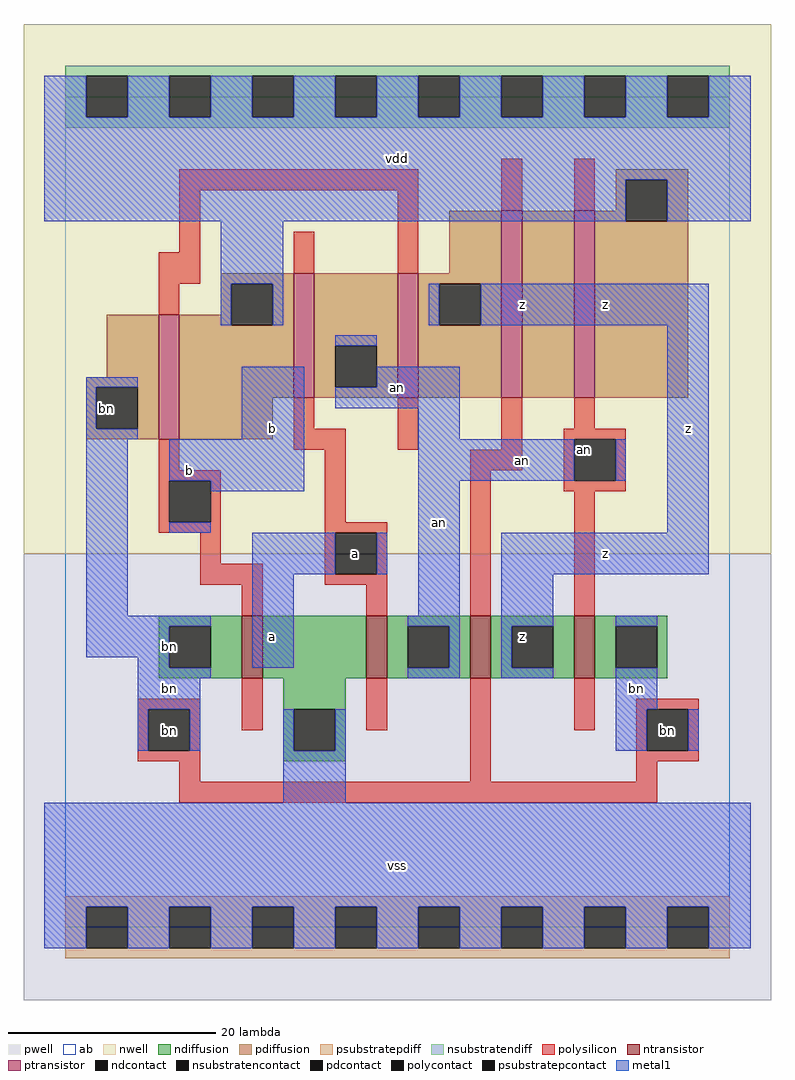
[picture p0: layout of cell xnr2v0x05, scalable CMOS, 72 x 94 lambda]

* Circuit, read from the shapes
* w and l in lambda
.subckt xnr2v0x05 a an b bn vdd vss z
M1 vss b bn vss nfet w=6 l=2
M2 an a vss vss nfet w=6 l=2
M3 z bn an vss nfet w=6 l=2
M4 bn an z vss nfet w=6 l=2
M5 vdd b bn vdd pfet w=12 l=2
M6 an a vdd vdd pfet w=12 l=2
M7 z b an vdd pfet w=12 l=2
M8 n1 bn z vdd pfet w=18 l=2
M9 vdd an n1 vdd pfet w=18 l=2
.ends

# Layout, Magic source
magic
tech scmos
<< ab >>
rect 0 0 64 80
<< pwell >>
rect -4 -7 68 36
<< nwell >>
rect -4 36 68 87
<< polysilicon >>
rect 11 71 34 73
rect 11 65 13 71
rect 9 62 13 65
rect 22 63 24 67
rect 32 63 34 71
rect 42 69 44 74
rect 49 69 51 74
rect 9 59 11 62
rect 22 48 24 51
rect 9 44 11 47
rect 22 46 27 48
rect 32 46 34 51
rect 42 46 44 51
rect 49 48 51 51
rect 9 43 15 44
rect 9 39 10 43
rect 14 39 15 43
rect 9 38 15 39
rect 13 35 15 38
rect 25 39 27 46
rect 39 44 44 46
rect 48 47 54 48
rect 25 38 31 39
rect 13 33 19 35
rect 25 34 26 38
rect 30 34 31 38
rect 25 33 31 34
rect 17 30 19 33
rect 29 30 31 33
rect 39 30 41 44
rect 48 43 49 47
rect 53 43 54 47
rect 48 42 54 43
rect 49 30 51 42
rect 7 21 13 22
rect 7 17 8 21
rect 12 17 13 21
rect 17 19 19 24
rect 7 16 13 17
rect 29 19 31 24
rect 11 14 13 16
rect 39 14 41 24
rect 49 19 51 24
rect 55 21 61 22
rect 55 17 56 21
rect 60 17 61 21
rect 55 16 61 17
rect 55 14 57 16
rect 11 12 57 14
<< ndiffusion >>
rect 9 29 17 30
rect 9 25 10 29
rect 14 25 17 29
rect 9 24 17 25
rect 19 24 29 30
rect 31 29 39 30
rect 31 25 33 29
rect 37 25 39 29
rect 31 24 39 25
rect 41 29 49 30
rect 41 25 43 29
rect 47 25 49 29
rect 41 24 49 25
rect 51 29 58 30
rect 51 25 53 29
rect 57 25 58 29
rect 51 24 58 25
rect 21 21 27 24
rect 21 17 22 21
rect 26 17 27 21
rect 21 16 27 17
<< pdiffusion >>
rect 53 72 60 73
rect 53 69 54 72
rect 37 63 42 69
rect 15 62 22 63
rect 15 59 16 62
rect 4 53 9 59
rect 2 52 9 53
rect 2 48 3 52
rect 7 48 9 52
rect 2 47 9 48
rect 11 58 16 59
rect 20 58 22 62
rect 11 51 22 58
rect 24 56 32 63
rect 24 52 26 56
rect 30 52 32 56
rect 24 51 32 52
rect 34 62 42 63
rect 34 58 36 62
rect 40 58 42 62
rect 34 51 42 58
rect 44 51 49 69
rect 51 68 54 69
rect 58 68 60 72
rect 51 51 60 68
rect 11 47 20 51
<< metal1 >>
rect -2 78 2 82
rect 6 78 10 82
rect 14 78 18 82
rect 22 78 26 82
rect 30 78 34 82
rect 38 78 42 82
rect 46 78 50 82
rect 54 78 58 82
rect 62 78 66 82
rect -2 72 66 78
rect -2 68 54 72
rect 58 68 66 72
rect 15 62 21 68
rect 15 58 16 62
rect 20 58 21 62
rect 35 58 36 62
rect 40 58 62 62
rect 26 56 30 57
rect 2 52 7 53
rect 2 48 3 52
rect 2 47 7 48
rect 17 47 23 54
rect 30 52 38 54
rect 26 50 38 52
rect 2 30 6 47
rect 10 43 23 47
rect 14 42 23 43
rect 34 47 38 50
rect 34 43 49 47
rect 53 43 54 47
rect 10 38 14 39
rect 18 34 26 38
rect 30 34 31 38
rect 2 29 14 30
rect 2 26 10 29
rect 7 25 10 26
rect 18 25 22 34
rect 34 30 38 43
rect 58 38 62 58
rect 33 29 38 30
rect 37 25 38 29
rect 7 24 14 25
rect 33 24 38 25
rect 42 34 62 38
rect 42 29 47 34
rect 42 25 43 29
rect 42 24 47 25
rect 53 29 57 30
rect 7 21 13 24
rect 53 21 57 25
rect 7 17 8 21
rect 12 17 13 21
rect 21 17 22 21
rect 26 17 27 21
rect 53 17 56 21
rect 60 17 61 21
rect 21 12 27 17
rect -2 2 66 12
rect -2 -2 2 2
rect 6 -2 10 2
rect 14 -2 18 2
rect 22 -2 26 2
rect 30 -2 34 2
rect 38 -2 42 2
rect 46 -2 50 2
rect 54 -2 58 2
rect 62 -2 66 2
<< ntransistor >>
rect 17 24 19 30
rect 29 24 31 30
rect 39 24 41 30
rect 49 24 51 30
<< ptransistor >>
rect 9 47 11 59
rect 22 51 24 63
rect 32 51 34 63
rect 42 51 44 69
rect 49 51 51 69
<< polycontact >>
rect 10 39 14 43
rect 26 34 30 38
rect 49 43 53 47
rect 8 17 12 21
rect 56 17 60 21
<< ndcontact >>
rect 10 25 14 29
rect 33 25 37 29
rect 43 25 47 29
rect 53 25 57 29
rect 22 17 26 21
<< pdcontact >>
rect 3 48 7 52
rect 16 58 20 62
rect 26 52 30 56
rect 36 58 40 62
rect 54 68 58 72
<< psubstratepcontact >>
rect 2 -2 6 2
rect 10 -2 14 2
rect 18 -2 22 2
rect 26 -2 30 2
rect 34 -2 38 2
rect 42 -2 46 2
rect 50 -2 54 2
rect 58 -2 62 2
<< nsubstratencontact >>
rect 2 78 6 82
rect 10 78 14 82
rect 18 78 22 82
rect 26 78 30 82
rect 34 78 38 82
rect 42 78 46 82
rect 50 78 54 82
rect 58 78 62 82
<< psubstratepdiff >>
rect 0 2 64 3
rect 0 -2 2 2
rect 6 -2 10 2
rect 14 -2 18 2
rect 22 -2 26 2
rect 30 -2 34 2
rect 38 -2 42 2
rect 46 -2 50 2
rect 54 -2 58 2
rect 62 -2 64 2
rect 0 -3 64 -2
<< nsubstratendiff >>
rect 0 82 64 83
rect 0 78 2 82
rect 6 78 10 82
rect 14 78 18 82
rect 22 78 26 82
rect 30 78 34 82
rect 38 78 42 82
rect 46 78 50 82
rect 54 78 58 82
rect 62 78 64 82
rect 0 77 64 78
<< labels >>
rlabel polycontact 10 19 10 19 6 bn
rlabel polycontact 58 19 58 19 6 bn
rlabel polycontact 50 46 50 46 6 an
rlabel pdcontact 4 50 4 50 6 bn
rlabel metal1 10 27 10 27 6 bn
rlabel metal1 10 23 10 23 6 bn
rlabel metal1 20 28 20 28 6 a
rlabel metal1 12 44 12 44 6 b
rlabel metal1 20 48 20 48 6 b
rlabel metal1 32 6 32 6 6 vss
rlabel polycontact 28 36 28 36 6 a
rlabel metal1 32 52 32 52 6 an
rlabel metal1 36 39 36 39 6 an
rlabel metal1 32 74 32 74 6 vdd
rlabel ndcontact 44 28 44 28 6 z
rlabel metal1 44 60 44 60 6 z
rlabel polycontact 57 19 57 19 6 bn
rlabel metal1 55 23 55 23 6 bn
rlabel metal1 52 36 52 36 6 z
rlabel metal1 44 45 44 45 6 an
rlabel metal1 60 48 60 48 6 z
rlabel metal1 52 60 52 60 6 z
<< end >>
